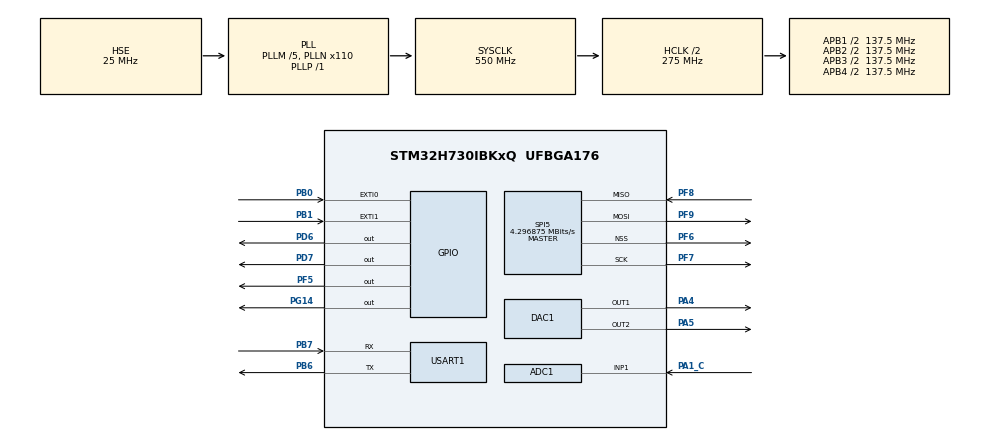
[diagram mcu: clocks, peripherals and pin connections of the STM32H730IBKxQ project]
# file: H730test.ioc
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ADC1.Channel-0\#ChannelRegularConversion=ADC_CHANNEL_1
ADC1.ConversionDataManagement=ADC_CONVERSIONDATA_DMA_ONESHOT
ADC1.ExternalTrigConv=ADC_EXTERNALTRIG_T3_TRGO
ADC1.NbrOfConversionFlag=1
ADC1.OffsetNumber-0\#ChannelRegularConversion=ADC_OFFSET_NONE
ADC1.OffsetSignedSaturation-0\#ChannelRegularConversion=DISABLE
ADC1.OversamplingMode=ENABLE
ADC1.Rank-0\#ChannelRegularConversion=1
ADC1.Ratio=16
ADC1.Resolution=ADC_RESOLUTION_12B
ADC1.RightBitShift=ADC_RIGHTBITSHIFT_4
ADC1.SamplingTime-0\#ChannelRegularConversion=ADC_SAMPLETIME_1CYCLE_5
ADC1.master=1
CORTEX_M7.AccessPermission_S-Cortex_Memory_Protection_Unit_Region1_Settings_S=MPU_REGION_FULL_ACCESS
CORTEX_M7.AccessPermission_Spec=MPU_REGION_FULL_ACCESS
CORTEX_M7.BaseAddress_S-Cortex_Memory_Protection_Unit_Region1_Settings_S=0x38000000
CORTEX_M7.CPU_DCache=Enabled
CORTEX_M7.CPU_ICache=Enabled
CORTEX_M7.Enable_S-Cortex_Memory_Protection_Unit_Region1_Settings_S=MPU_REGION_ENABLE
CORTEX_M7.IsBufferable_S-Cortex_Memory_Protection_Unit_Region1_Settings_S=MPU_ACCESS_NOT_BUFFERABLE
CORTEX_M7.IsCacheable_S-Cortex_Memory_Protection_Unit_Region1_Settings_S=MPU_ACCESS_CACHEABLE
CORTEX_M7.IsShareable_S-Cortex_Memory_Protection_Unit_Region1_Settings_S=MPU_ACCESS_SHAREABLE
CORTEX_M7.Size_S-Cortex_Memory_Protection_Unit_Region1_Settings_S=MPU_REGION_SIZE_64KB
CORTEX_M7.default_mode_Activation=1
DAC1.DAC_Channel-DAC_OUT1=DAC_CHANNEL_1
DAC1.DAC_Channel-DAC_OUT2=DAC_CHANNEL_2
DAC1.DAC_SampleAndHold-DAC_OUT2=DAC_SAMPLEANDHOLD_DISABLE
DAC1.DAC_Trigger-DAC_OUT1=DAC_TRIGGER_T2_TRGO
DAC1.DAC_Trigger-DAC_OUT2=DAC_TRIGGER_T4_TRGO
DAC1.WaveGeneration-DAC_OUT1=DISABLE
Dma.ADC1.0.Direction=DMA_PERIPH_TO_MEMORY
Dma.ADC1.0.EventEnable=DISABLE
Dma.ADC1.0.FIFOMode=DMA_FIFOMODE_DISABLE
Dma.ADC1.0.Instance=DMA1_Stream0
Dma.ADC1.0.MemDataAlignment=DMA_MDATAALIGN_HALFWORD
Dma.ADC1.0.MemInc=DMA_MINC_ENABLE
Dma.ADC1.0.Mode=DMA_NORMAL
Dma.ADC1.0.PeriphDataAlignment=DMA_PDATAALIGN_HALFWORD
Dma.ADC1.0.PeriphInc=DMA_PINC_DISABLE
Dma.ADC1.0.Polarity=HAL_DMAMUX_REQ_GEN_RISING
Dma.ADC1.0.Priority=DMA_PRIORITY_LOW
Dma.ADC1.0.RequestNumber=1
Dma.ADC1.0.SignalID=NONE
Dma.ADC1.0.SyncEnable=DISABLE
Dma.ADC1.0.SyncPolarity=HAL_DMAMUX_SYNC_NO_EVENT
Dma.ADC1.0.SyncRequestNumber=1
Dma.ADC1.0.SyncSignalID=NONE
Dma.DAC1_CH1.1.Direction=DMA_MEMORY_TO_PERIPH
Dma.DAC1_CH1.1.EventEnable=DISABLE
Dma.DAC1_CH1.1.FIFOMode=DMA_FIFOMODE_DISABLE
Dma.DAC1_CH1.1.Instance=DMA1_Stream1
Dma.DAC1_CH1.1.MemDataAlignment=DMA_MDATAALIGN_HALFWORD
Dma.DAC1_CH1.1.MemInc=DMA_MINC_ENABLE
Dma.DAC1_CH1.1.Mode=DMA_NORMAL
Dma.DAC1_CH1.1.PeriphDataAlignment=DMA_PDATAALIGN_HALFWORD
Dma.DAC1_CH1.1.PeriphInc=DMA_PINC_DISABLE
Dma.DAC1_CH1.1.Polarity=HAL_DMAMUX_REQ_GEN_RISING
Dma.DAC1_CH1.1.Priority=DMA_PRIORITY_LOW
Dma.DAC1_CH1.1.RequestNumber=1
Dma.DAC1_CH1.1.SignalID=NONE
Dma.DAC1_CH1.1.SyncEnable=DISABLE
Dma.DAC1_CH1.1.SyncPolarity=HAL_DMAMUX_SYNC_NO_EVENT
Dma.DAC1_CH1.1.SyncRequestNumber=1
Dma.DAC1_CH1.1.SyncSignalID=NONE
Dma.DAC1_CH2.2.Direction=DMA_MEMORY_TO_PERIPH
Dma.DAC1_CH2.2.EventEnable=DISABLE
Dma.DAC1_CH2.2.FIFOMode=DMA_FIFOMODE_DISABLE
Dma.DAC1_CH2.2.Instance=DMA1_Stream2
Dma.DAC1_CH2.2.MemDataAlignment=DMA_MDATAALIGN_HALFWORD
Dma.DAC1_CH2.2.MemInc=DMA_MINC_ENABLE
Dma.DAC1_CH2.2.Mode=DMA_NORMAL
Dma.DAC1_CH2.2.PeriphDataAlignment=DMA_PDATAALIGN_HALFWORD
Dma.DAC1_CH2.2.PeriphInc=DMA_PINC_DISABLE
Dma.DAC1_CH2.2.Polarity=HAL_DMAMUX_REQ_GEN_RISING
Dma.DAC1_CH2.2.Priority=DMA_PRIORITY_LOW
Dma.DAC1_CH2.2.RequestNumber=1
Dma.DAC1_CH2.2.SignalID=NONE
Dma.DAC1_CH2.2.SyncEnable=DISABLE
Dma.DAC1_CH2.2.SyncPolarity=HAL_DMAMUX_SYNC_NO_EVENT
Dma.DAC1_CH2.2.SyncRequestNumber=1
Dma.DAC1_CH2.2.SyncSignalID=NONE
Dma.Request0=ADC1
Dma.Request1=DAC1_CH1
Dma.Request2=DAC1_CH2
Dma.Request3=SPI5_TX
Dma.SPI5_TX.3.Direction=DMA_MEMORY_TO_PERIPH
Dma.SPI5_TX.3.EventEnable=DISABLE
Dma.SPI5_TX.3.FIFOMode=DMA_FIFOMODE_DISABLE
Dma.SPI5_TX.3.Instance=DMA1_Stream3
Dma.SPI5_TX.3.MemDataAlignment=DMA_MDATAALIGN_BYTE
Dma.SPI5_TX.3.MemInc=DMA_MINC_ENABLE
Dma.SPI5_TX.3.Mode=DMA_NORMAL
Dma.SPI5_TX.3.PeriphDataAlignment=DMA_PDATAALIGN_BYTE
Dma.SPI5_TX.3.PeriphInc=DMA_PINC_DISABLE
Dma.SPI5_TX.3.Polarity=HAL_DMAMUX_REQ_GEN_RISING
Dma.SPI5_TX.3.Priority=DMA_PRIORITY_LOW
Dma.SPI5_TX.3.RequestNumber=1
Dma.SPI5_TX.3.SignalID=NONE
Dma.SPI5_TX.3.SyncEnable=DISABLE
Dma.SPI5_TX.3.SyncPolarity=HAL_DMAMUX_SYNC_NO_EVENT
Dma.SPI5_TX.3.SyncRequestNumber=1
Dma.SPI5_TX.3.SyncSignalID=NONE
Mcu.Family=STM32H7
Mcu.Name=STM32H730IBKxQ
Mcu.Package=UFBGA176
NVIC.DMA1_Stream0_IRQn=true\:0\:0\:false\:false\:true\:false\:true\:true
NVIC.DMA1_Stream1_IRQn=true\:0\:0\:false\:false\:true\:false\:true\:true
NVIC.DMA1_Stream2_IRQn=true\:0\:0\:false\:false\:true\:false\:true\:true
NVIC.DMA1_Stream3_IRQn=true\:0\:0\:false\:false\:true\:false\:true\:true
NVIC.EXTI0_IRQn=true\:0\:0\:false\:false\:true\:true\:true\:true
NVIC.EXTI1_IRQn=true\:0\:0\:false\:false\:true\:true\:true\:true
NVIC.PriorityGroup=NVIC_PRIORITYGROUP_4
NVIC.SPI5_IRQn=true\:0\:0\:false\:false\:true\:false\:true\:true
PA13(JTMS/SWDIO).Mode=Serial_Wire
PA13(JTMS/SWDIO).Signal=DEBUG_JTMS-SWDIO
PA14(JTCK/SWCLK).Mode=Serial_Wire
PA14(JTCK/SWCLK).Signal=DEBUG_JTCK-SWCLK
PA1_C.Signal=ADCx_INP1
PA4.Signal=COMP_DAC11_group
PA5.Signal=COMP_DAC12_group
PB0.Signal=GPXTI0
PB1.Signal=GPXTI1
PB6.Mode=Asynchronous
PB6.Signal=USART1_TX
PB7.Mode=Asynchronous
PB7.Signal=USART1_RX
PD6.Signal=GPIO_Output
PD7.Signal=GPIO_Output
PF5.Signal=GPIO_Output
PF6.Mode=NSS_Signal_Hard_Output
PF6.Signal=SPI5_NSS
PF7.GPIO_Speed=GPIO_SPEED_FREQ_HIGH
PF7.Mode=Full_Duplex_Master
PF7.Signal=SPI5_SCK
PF8.GPIO_Speed=GPIO_SPEED_FREQ_HIGH
PF8.Mode=Full_Duplex_Master
PF8.Signal=SPI5_MISO
PF9.GPIO_Speed=GPIO_SPEED_FREQ_HIGH
PF9.Mode=Full_Duplex_Master
PF9.Signal=SPI5_MOSI
PG14.Signal=GPIO_Output
PH0-OSC_IN.Mode=HSE-External-Oscillator
PH0-OSC_IN.Signal=RCC_OSC_IN
PH1-OSC_OUT.Mode=HSE-External-Oscillator
PH1-OSC_OUT.Signal=RCC_OSC_OUT
ProjectManager.HeapSize=0x200
ProjectManager.StackSize=0x400
ProjectManager.TargetToolchain=MDK-ARM V5.27
RCC.ADCFreq_Value=125000000
RCC.APB1Freq_Value=137500000
RCC.APB2Freq_Value=137500000
RCC.APB3Freq_Value=137500000
RCC.APB4Freq_Value=137500000
RCC.CortexFreq_Value=550000000
RCC.D1PPRE=RCC_APB3_DIV2
RCC.D2PPRE1=RCC_APB1_DIV2
RCC.D2PPRE2=RCC_APB2_DIV2
RCC.D3PPRE=RCC_APB4_DIV2
RCC.DIVM1=5
RCC.DIVM2=5
RCC.DIVM3=5
RCC.DIVN1=110
RCC.DIVN2=100
RCC.DIVN3=110
RCC.DIVP1=1
RCC.DIVP2=4
RCC.EnbaleCSS=true
RCC.HCLKFreq_Value=275000000
RCC.HPRE=RCC_HCLK_DIV2
RCC.HSE_VALUE=25000000
RCC.PLL2FRACN=0
RCC.PLLFRACN=0
RCC.PLLSourceVirtual=RCC_PLLSOURCE_HSE
RCC.SYSCLKFreq_VALUE=550000000
RCC.SYSCLKSource=RCC_SYSCLKSOURCE_PLLCLK
RCC.USBFreq_Value=275000000
SH.ADCx_INP1.0=ADC1_INP1,IN1-Single-Ended
SH.COMP_DAC11_group.0=DAC1_OUT1,DAC_OUT1
SH.COMP_DAC12_group.0=DAC1_OUT2,DAC_OUT2
SPI5.BaudRatePrescaler=SPI_BAUDRATEPRESCALER_32
SPI5.CalculateBaudRate=4.296875 MBits/s
SPI5.DataSize=SPI_DATASIZE_8BIT
SPI5.Direction=SPI_DIRECTION_2LINES
SPI5.Mode=SPI_MODE_MASTER
SPI5.VirtualNSS=VM_NSSHARD
SPI5.VirtualType=VM_MASTER
TIM2.Period=199
TIM2.Prescaler=274
TIM2.TIM_MasterOutputTrigger=TIM_TRGO_UPDATE
TIM3.Period=499
TIM3.Prescaler=274
TIM3.TIM_MasterOutputTrigger=TIM_TRGO_UPDATE
TIM4.Period=999
TIM4.Prescaler=274
TIM4.TIM_MasterOutputTrigger=TIM_TRGO_UPDATE
USART1.VirtualMode-Asynchronous=VM_ASYNC
VP_MEMORYMAP_VS_MEMORYMAP.Mode=CurAppReg
VP_TIM2_VS_ClockSourceINT.Mode=Internal
VP_TIM3_VS_ClockSourceINT.Mode=Internal
VP_TIM4_VS_ClockSourceINT.Mode=Internal
board=custom

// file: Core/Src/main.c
/* USER CODE BEGIN Header */
/**
  ******************************************************************************
  * @file           : main.c
  * @brief          : Main program body
  ******************************************************************************
  * @attention
  *
  * Copyright (c) 2026 STMicroelectronics.
  * All rights reserved.
  *
  * This software is licensed under terms that can be found in the LICENSE file
  * in the root directory of this software component.
  * If no LICENSE file comes with this software, it is provided AS-IS.
  *
  ******************************************************************************
  */
/* USER CODE END Header */
#include "main.h"

/* USER CODE BEGIN Includes */
#include <stdint.h>
#include <stdio.h>
#include <string.h>
#include <stdbool.h>
/* USER CODE END Includes */

/* USER CODE BEGIN PM */
#define MAX_XSIZE 10000
#define MAX_YSIZE 10000
#define XPOINTS_PER_LINE 2500
#define YPOINTS_PER_LINE 1000

#define POINTS_V 5000
#define DAC_X_MSB 4096  // DAC输出的最大�?�，12-bit分辨率为4095，但为了方便计算和留有余量，使用4096
#define DAC_Y_MSB 4096  // 同上，DAC输出的最大�??

/* USER CODE END PM */

ADC_HandleTypeDef hadc1;
DMA_HandleTypeDef hdma_adc1;

DAC_HandleTypeDef hdac1;
DMA_HandleTypeDef hdma_dac1_ch1;
DMA_HandleTypeDef hdma_dac1_ch2;

SPI_HandleTypeDef hspi5;
DMA_HandleTypeDef hdma_spi5_tx;

TIM_HandleTypeDef htim2;
TIM_HandleTypeDef htim3;
TIM_HandleTypeDef htim4;

UART_HandleTypeDef huart1;

/* USER CODE BEGIN PV */

//ALIGN_32BYTES (uint16_t adc3_buffer[ADC_BUFFER_SIZE]) __attribute__((section(".ARM.__at_0x38000000")));
ALIGN_32BYTES (uint16_t adc_buffer[ADC_BUFFER_SIZE]) __attribute__((section(".ARM.__at_0x38000000")));
volatile uint8_t dma_transfer_complete_flag = 0;
volatile uint8_t dma_transfer_half_complete_flag = 0;

// AFM Scan parameters
static uint16_t scan_x_size = 10000; // integer in nm, 10 um
static uint16_t scan_y_size = 10000; // integer in nm, 10 um
static uint16_t scan_x_offset = 0; // integer in nm
static uint16_t scan_y_offset = 0; // integer in nm
static uint16_t scan_rate = 1; // in Hz
static uint16_t scan_samples = 250;
static uint16_t scan_lines = 250;
volatile bool scanning = false;
volatile static bool scan_direction_upward = false; // true: upward (from max to 0), false: downward (from 0 to max)
volatile uint16_t current_scan_line = 0;
volatile bool frame_completed = false;
volatile bool half_line_completed = false;
volatile bool line_completed = false;

volatile bool scan_x_tr = false; // true: x scanning in retrace direction, false: x scanning in trace direction

// scanning control varibles
static float scan_x_inc = 0.0f;
static float scan_y_inc = 0.0f;

uint16_t scan_y_index = 0; // 当前扫描行的索引
ALIGN_32BYTES (uint16_t x_dac_buffer_t[XPOINTS_PER_LINE]) __attribute__((section(".ARM.__at_0x38000000")));
ALIGN_32BYTES (uint16_t x_dac_buffer_r[XPOINTS_PER_LINE]) __attribute__((section(".ARM.__at_0x38000000")));
ALIGN_32BYTES (uint16_t y_dac_buffer[YPOINTS_PER_LINE]) __attribute__((section(".ARM.__at_0x38000000")));
//ALIGN_32BYTES (uint16_t y_dac_buffer_nl[YPOINTS_PER_LINE]) __attribute__((section(".ARM.__at_0x38000000")));  // nl: next line

#pragma pack(push, 1)
typedef struct {
    uint16_t    address;
    uint16_t    scan_x_size;
    uint16_t    scan_y_size;
    uint16_t    scan_x_offset;
    uint16_t    scan_y_offset;
    uint16_t    scan_rate;
    uint16_t    scan_samples;
    uint16_t    scan_lines;
    uint16_t     is_scanning; // 0 for stopped, 1 for scanning
    uint16_t     scan_direction; // 0 for downward, 1 for upward
} ScanParams_t;
#pragma pack(pop)

union{
    ScanParams_t params;
    uint8_t bytes[sizeof(ScanParams_t)];
} scan_params_union;

static bool spi_request = false;
uint16_t spi_tx_buffer[ 1000];

/* USER CODE END PV */

void SystemClock_Config(void);
static void MPU_Config(void);
static void MX_GPIO_Init(void);
static void MX_DMA_Init(void);
static void MX_SPI5_Init(void);
static void MX_TIM3_Init(void);
static void MX_USART1_UART_Init(void);
static void MX_ADC1_Init(void);
static void MX_DAC1_Init(void);
static void MX_TIM2_Init(void);
static void MX_TIM4_Init(void);
/* USER CODE BEGIN PFP */

static void Scan_Init(void);
static void Launch_Scan(void);
static void Stop_Scan(void);

/* USER CODE END PFP */

/* USER CODE BEGIN 0 */
/* USER CODE BEGIN 0 */
int fputc(int ch, FILE *stream)
{
    /* ??????? USART3 ???? */
    HAL_UART_Transmit(&huart1, (uint8_t *)&ch, 1, 100);
    return ch;
}

void tx_buf_init(void)
{
  uint16_t i;
  for(i = 0; i< 1000; i++)
    spi_tx_buffer[i] = i;

}

/* USER CODE END 0 */

int main(void)
{

  /* MPU Configuration--------------------------------------------------------*/
  MPU_Config();

  /* Enable the CPU Cache */

  /* Enable I-Cache---------------------------------------------------------*/
  SCB_EnableICache();

  /* Enable D-Cache---------------------------------------------------------*/
  SCB_EnableDCache();

  /* MCU Configuration--------------------------------------------------------*/

  /* Reset of all peripherals, Initializes the Flash interface and the Systick. */
  HAL_Init();

  /* Configure the system clock */
  SystemClock_Config();

  /* Initialize all configured peripherals */
  MX_GPIO_Init();
  MX_DMA_Init();
  MX_SPI5_Init();
  MX_TIM3_Init();
  MX_USART1_UART_Init();
  MX_ADC1_Init();
  MX_DAC1_Init();
  MX_TIM2_Init();
  MX_TIM4_Init();
  /* USER CODE BEGIN 2 */

  /* Start DAC channels */
  HAL_DAC_Start(&hdac1, DAC_CHANNEL_1);
  HAL_DAC_Start(&hdac1, DAC_CHANNEL_2);

  /* Set DAC output values: 1/3 and 2/3 of full scale (4095) */
  /* DAC resolution is 12-bit, so full scale = 4095 */
  // HAL_DAC_SetValue(&hdac1, DAC_CHANNEL_1, DAC_ALIGN_12B_R, 1365);  /* 4095 * 1/3 = 1365 */
  // HAL_DAC_SetValue(&hdac1, DAC_CHANNEL_2, DAC_ALIGN_12B_R, 2730);  /* 4095 * 2/3 = 2730 */

  /* Perform ADC calibration before starting */
  if (HAL_ADCEx_Calibration_Start(&hadc1, ADC_CALIB_OFFSET, ADC_SINGLE_ENDED) != HAL_OK)
  {
    Error_Handler();
  }

  /* Start TIM3 to trigger ADC1 conversions */
  if (HAL_TIM_Base_Start_IT(&htim3) != HAL_OK)
  {
    Error_Handler();
  }

    /* Start TIM2 to trigger DAC1 CH1 conversions */
  if (HAL_TIM_Base_Start_IT(&htim2) != HAL_OK)
  {
    Error_Handler();
  }

  /* Start TIM4 to trigger DAC1 CH2 conversions */
  if (HAL_TIM_Base_Start_IT(&htim4) != HAL_OK)
  {
    Error_Handler();
  }

  /* Initialize scanning parameters */
  Scan_Init();
  tx_buf_init();

  /* Debug: Send startup message */
  printf("STM32H730 AFM Scan Control Started\r\n");

  /* USER CODE END 2 */

  /* Infinite loop */
  while (1)
  {

    /* USER CODE BEGIN 3 */
    // if(dma_transfer_complete_flag==1)
    // {
    //   // 处理 buffer1 数据
    //   // ...

    //   uint32_t sum = 0;
    //   float voltage;

    //   // 计算1000个点总和
    //   for(int i=0; i<1000; i++) sum += adc_buffer[i + 1000];

    //   // 计算平均�????????? �????????? 转换成电压（12位ADC�?????????3.3V参�?�）
    //   uint16_t adc_avg = sum / 1000;
    //   //voltage = (adc_avg * 3.3f) / 4095.0f;
    //   voltage = ((adc_buffer[1000]) * 3.3f) / 4095.0f;

    //   // 通过 USART3 打印平均电压
    //   printf("retrace volt: %.3f V\r\n", voltage);

    //   printf("full transfer complete, processing buffer1...\n");
    //   dma_transfer_complete_flag = 0; // 重置标志
    //   HAL_GPIO_WritePin(GPIOF, GPIO_PIN_5, GPIO_PIN_SET); // 点亮 LED
    // }

    // if(dma_transfer_half_complete_flag==1)
    // {
    //   // 处理 buffer2 数据
    //   // ...
    //   uint32_t sum = 0;
    //   float voltage;

    //   // 计算1000个点总和
    //   for(int i=0; i<1000; i++) sum += adc_buffer[i];

    //   // 计算平均�????????? �????????? 转换成电压（12位ADC�?????????3.3V参�?�）
    //   uint16_t adc_avg = sum / 1000;
    //   //voltage = (adc_avg * 3.3f) / 4095.0f;
    //   voltage = ((adc_buffer[0]) * 3.3f) / 4095.0f;

    //   // 通过 USART3 打印平均电压
    //   printf("trace volt: %.3f V\r\n", voltage);
    //   printf("half transfer complete, processing buffer2...\n");
    //   dma_transfer_half_complete_flag = 0; // 重置标志
    //   HAL_GPIO_WritePin(GPIOF, GPIO_PIN_5, GPIO_PIN_RESET); // 熄灭 LED
    // }

    if(line_completed){
      // 处理半行扫描完成的情况，例如更新 DAC 输出以准备下�??行扫�??
      if(scan_direction_upward){
        // 如果当前扫描方向是向上（从最大到0），则更�?? DAC 输出为下�??行的�??
        if(current_scan_line > 0)  // 如果不是第一行，预先计算上一行的Y DAC�??
        {
          uint16_t i;
          for(i=0;i<YPOINTS_PER_LINE;i++)
          {
            y_dac_buffer[i] = (uint16_t)(scan_y_offset * DAC_Y_MSB / MAX_YSIZE + (YPOINTS_PER_LINE * (current_scan_line - 1) + i) * scan_y_inc);
          }
        }
        else
        {
          // 如果是第�??行，预先计算第二行的Y DAC值（�??复循环扫描）
          uint16_t i;
          for(i=0;i<YPOINTS_PER_LINE;i++)
          {
            y_dac_buffer[i] = (uint16_t)(scan_y_offset * DAC_Y_MSB / MAX_YSIZE + (YPOINTS_PER_LINE * (current_scan_line + 1) + i) * scan_y_inc);
          }
        }

      }
      else{
        // 如果当前扫描方向是向下（�??0到最大），则更新 DAC 输出为下�??行的�??
        if(current_scan_line < (scan_lines - 1))  // 如果不是�??后一行，预先计算下一行的Y DAC�??
        {
          uint16_t i;
          for(i=0;i<YPOINTS_PER_LINE;i++)
          {
            y_dac_buffer[i] = (uint16_t)(scan_y_offset * DAC_Y_MSB / MAX_YSIZE + (YPOINTS_PER_LINE * (current_scan_line + 1) + i) * scan_y_inc);
          }
        }
        else
        {
            // 如果是最后一行，预先计算倒数第二行的Y DAC值（�??复循环扫描）
            uint16_t i;
            for(i=0;i<YPOINTS_PER_LINE;i++)
            {
              y_dac_buffer[i] = (uint16_t)(scan_y_offset * DAC_Y_MSB / MAX_YSIZE + (YPOINTS_PER_LINE * (current_scan_line + 0) + i) * scan_y_inc);
            }
        }

      }
      line_completed = false;
      HAL_GPIO_WritePin(GPIOF, GPIO_PIN_5, GPIO_PIN_SET); // 点亮 LED
      HAL_GPIO_WritePin(GPIO_PORT_LINESYNC, GPIO_PIN_LINESYNC, GPIO_PIN_RESET); // falling edge indicates retrace data ready

      //printf("line %d completed\n", current_scan_line);

      // 更新扫描行索�??
      if(scan_direction_upward){
        // 如果当前扫描方向是向上（从最大到0），则索引�?�减
        if(current_scan_line > 0) current_scan_line--;
        else{
          // 已经扫描到最上面�??行，切换扫描方向
          scan_direction_upward = false;
        }

      }
      else{
        // 如果当前扫描方向是向下（�??0到最大），则索引递增
        if(current_scan_line < (scan_lines - 1)) current_scan_line++;
        else{
          // 已经扫描到最下面�??行，切换扫描方向
          scan_direction_upward = true;
        }
      }
    }

    if(half_line_completed)
    {
      // 处理半行扫描完成的情况，例如更新 DAC 输出以准备半行扫�??
      // ...
      half_line_completed = false; // 重置标志
      HAL_GPIO_WritePin(GPIOF, GPIO_PIN_5, GPIO_PIN_RESET); // 熄灭 LED
      HAL_GPIO_WritePin(GPIO_PORT_LINESYNC, GPIO_PIN_LINESYNC, GPIO_PIN_SET);   // raising edge indicates trace data ready
      //printf("half line %d completed\n", current_scan_line);
    }

    // if(line_completed){
    //   // 处理整行扫描完成
    //   printf("line %d completed\n", current_scan_line);
    //   line_completed = false;
    // }
    /* ADC conversions are handled by TIM3 trigger and DMA interrupt */
    /* No need for polling in main loop */

  }
  /* USER CODE END 3 */
}

void SystemClock_Config(void)
{
  RCC_OscInitTypeDef RCC_OscInitStruct = {0};
  RCC_ClkInitTypeDef RCC_ClkInitStruct = {0};

  /** Supply configuration update enable
  */
  HAL_PWREx_ConfigSupply(PWR_DIRECT_SMPS_SUPPLY);

  /** Configure the main internal regulator output voltage
  */
  __HAL_PWR_VOLTAGESCALING_CONFIG(PWR_REGULATOR_VOLTAGE_SCALE0);

  while(!__HAL_PWR_GET_FLAG(PWR_FLAG_VOSRDY)) {}

  /** Initializes the RCC Oscillators according to the specified parameters
  * in the RCC_OscInitTypeDef structure.
  */
  RCC_OscInitStruct.OscillatorType = RCC_OSCILLATORTYPE_HSE;
  RCC_OscInitStruct.HSEState = RCC_HSE_ON;
  RCC_OscInitStruct.PLL.PLLState = RCC_PLL_ON;
  RCC_OscInitStruct.PLL.PLLSource = RCC_PLLSOURCE_HSE;
  RCC_OscInitStruct.PLL.PLLM = 5;
  RCC_OscInitStruct.PLL.PLLN = 110;
  RCC_OscInitStruct.PLL.PLLP = 1;
  RCC_OscInitStruct.PLL.PLLQ = 2;
  RCC_OscInitStruct.PLL.PLLR = 2;
  RCC_OscInitStruct.PLL.PLLRGE = RCC_PLL1VCIRANGE_2;
  RCC_OscInitStruct.PLL.PLLVCOSEL = RCC_PLL1VCOWIDE;
  RCC_OscInitStruct.PLL.PLLFRACN = 0;
  if (HAL_RCC_OscConfig(&RCC_OscInitStruct) != HAL_OK)
  {
    Error_Handler();
  }

  /** Initializes the CPU, AHB and APB buses clocks
  */
  RCC_ClkInitStruct.ClockType = RCC_CLOCKTYPE_HCLK|RCC_CLOCKTYPE_SYSCLK
                              |RCC_CLOCKTYPE_PCLK1|RCC_CLOCKTYPE_PCLK2
                              |RCC_CLOCKTYPE_D3PCLK1|RCC_CLOCKTYPE_D1PCLK1;
  RCC_ClkInitStruct.SYSCLKSource = RCC_SYSCLKSOURCE_PLLCLK;
  RCC_ClkInitStruct.SYSCLKDivider = RCC_SYSCLK_DIV1;
  RCC_ClkInitStruct.AHBCLKDivider = RCC_HCLK_DIV2;
  RCC_ClkInitStruct.APB3CLKDivider = RCC_APB3_DIV2;
  RCC_ClkInitStruct.APB1CLKDivider = RCC_APB1_DIV2;
  RCC_ClkInitStruct.APB2CLKDivider = RCC_APB2_DIV2;
  RCC_ClkInitStruct.APB4CLKDivider = RCC_APB4_DIV2;

  if (HAL_RCC_ClockConfig(&RCC_ClkInitStruct, FLASH_LATENCY_3) != HAL_OK)
  {
    Error_Handler();
  }

  /** Enables the Clock Security System
  */
  HAL_RCC_EnableCSS();
}

static void MX_ADC1_Init(void)
{

  ADC_MultiModeTypeDef multimode = {0};
  ADC_ChannelConfTypeDef sConfig = {0};

  /** Common config
  */
  hadc1.Instance = ADC1;
  hadc1.Init.ClockPrescaler = ADC_CLOCK_ASYNC_DIV1;
  hadc1.Init.Resolution = ADC_RESOLUTION_12B;
  hadc1.Init.ScanConvMode = ADC_SCAN_DISABLE;
  hadc1.Init.EOCSelection = ADC_EOC_SINGLE_CONV;
  hadc1.Init.LowPowerAutoWait = DISABLE;
  hadc1.Init.ContinuousConvMode = DISABLE;
  hadc1.Init.NbrOfConversion = 1;
  hadc1.Init.DiscontinuousConvMode = DISABLE;
  hadc1.Init.ExternalTrigConv = ADC_EXTERNALTRIG_T3_TRGO;
  hadc1.Init.ExternalTrigConvEdge = ADC_EXTERNALTRIGCONVEDGE_RISING;
  hadc1.Init.ConversionDataManagement = ADC_CONVERSIONDATA_DMA_ONESHOT;
  hadc1.Init.Overrun = ADC_OVR_DATA_PRESERVED;
  hadc1.Init.LeftBitShift = ADC_LEFTBITSHIFT_NONE;
  hadc1.Init.OversamplingMode = ENABLE;
  hadc1.Init.Oversampling.Ratio = 16;
  hadc1.Init.Oversampling.RightBitShift = ADC_RIGHTBITSHIFT_4;
  hadc1.Init.Oversampling.TriggeredMode = ADC_TRIGGEREDMODE_SINGLE_TRIGGER;
  hadc1.Init.Oversampling.OversamplingStopReset = ADC_REGOVERSAMPLING_CONTINUED_MODE;
  if (HAL_ADC_Init(&hadc1) != HAL_OK)
  {
    Error_Handler();
  }

  /** Configure the ADC multi-mode
  */
  multimode.Mode = ADC_MODE_INDEPENDENT;
  if (HAL_ADCEx_MultiModeConfigChannel(&hadc1, &multimode) != HAL_OK)
  {
    Error_Handler();
  }

  /** Configure Regular Channel
  */
  sConfig.Channel = ADC_CHANNEL_1;
  sConfig.Rank = ADC_REGULAR_RANK_1;
  sConfig.SamplingTime = ADC_SAMPLETIME_1CYCLE_5;
  sConfig.SingleDiff = ADC_SINGLE_ENDED;
  sConfig.OffsetNumber = ADC_OFFSET_NONE;
  sConfig.Offset = 0;
  sConfig.OffsetSignedSaturation = DISABLE;
  if (HAL_ADC_ConfigChannel(&hadc1, &sConfig) != HAL_OK)
  {
    Error_Handler();
  }

}

static void MX_DAC1_Init(void)
{

  DAC_ChannelConfTypeDef sConfig = {0};

  /** DAC Initialization
  */
  hdac1.Instance = DAC1;
  if (HAL_DAC_Init(&hdac1) != HAL_OK)
  {
    Error_Handler();
  }

  /** DAC channel OUT1 config
  */
  sConfig.DAC_SampleAndHold = DAC_SAMPLEANDHOLD_DISABLE;
  sConfig.DAC_Trigger = DAC_TRIGGER_T2_TRGO;
  sConfig.DAC_OutputBuffer = DAC_OUTPUTBUFFER_ENABLE;
  sConfig.DAC_ConnectOnChipPeripheral = DAC_CHIPCONNECT_DISABLE;
  sConfig.DAC_UserTrimming = DAC_TRIMMING_FACTORY;
  if (HAL_DAC_ConfigChannel(&hdac1, &sConfig, DAC_CHANNEL_1) != HAL_OK)
  {
    Error_Handler();
  }

  /** DAC channel OUT2 config
  */
  sConfig.DAC_Trigger = DAC_TRIGGER_T4_TRGO;
  if (HAL_DAC_ConfigChannel(&hdac1, &sConfig, DAC_CHANNEL_2) != HAL_OK)
  {
    Error_Handler();
  }

}

static void MX_SPI5_Init(void)
{

  /* SPI5 parameter configuration*/
  hspi5.Instance = SPI5;
  hspi5.Init.Mode = SPI_MODE_MASTER;
  hspi5.Init.Direction = SPI_DIRECTION_2LINES;
  hspi5.Init.DataSize = SPI_DATASIZE_8BIT;
  hspi5.Init.CLKPolarity = SPI_POLARITY_LOW;
  hspi5.Init.CLKPhase = SPI_PHASE_1EDGE;
  hspi5.Init.NSS = SPI_NSS_HARD_OUTPUT;
  hspi5.Init.BaudRatePrescaler = SPI_BAUDRATEPRESCALER_32;
  hspi5.Init.FirstBit = SPI_FIRSTBIT_MSB;
  hspi5.Init.TIMode = SPI_TIMODE_DISABLE;
  hspi5.Init.CRCCalculation = SPI_CRCCALCULATION_DISABLE;
  hspi5.Init.CRCPolynomial = 0x0;
  hspi5.Init.NSSPMode = SPI_NSS_PULSE_ENABLE;
  hspi5.Init.NSSPolarity = SPI_NSS_POLARITY_LOW;
  hspi5.Init.FifoThreshold = SPI_FIFO_THRESHOLD_01DATA;
  hspi5.Init.TxCRCInitializationPattern = SPI_CRC_INITIALIZATION_ALL_ZERO_PATTERN;
  hspi5.Init.RxCRCInitializationPattern = SPI_CRC_INITIALIZATION_ALL_ZERO_PATTERN;
  hspi5.Init.MasterSSIdleness = SPI_MASTER_SS_IDLENESS_00CYCLE;
  hspi5.Init.MasterInterDataIdleness = SPI_MASTER_INTERDATA_IDLENESS_00CYCLE;
  hspi5.Init.MasterReceiverAutoSusp = SPI_MASTER_RX_AUTOSUSP_DISABLE;
  hspi5.Init.MasterKeepIOState = SPI_MASTER_KEEP_IO_STATE_DISABLE;
  hspi5.Init.IOSwap = SPI_IO_SWAP_DISABLE;
  if (HAL_SPI_Init(&hspi5) != HAL_OK)
  {
    Error_Handler();
  }

}

static void MX_TIM2_Init(void)
{

  TIM_ClockConfigTypeDef sClockSourceConfig = {0};
  TIM_MasterConfigTypeDef sMasterConfig = {0};

  htim2.Instance = TIM2;
  htim2.Init.Prescaler = 274;
  htim2.Init.CounterMode = TIM_COUNTERMODE_UP;
  htim2.Init.Period = 199;
  htim2.Init.ClockDivision = TIM_CLOCKDIVISION_DIV1;
  htim2.Init.AutoReloadPreload = TIM_AUTORELOAD_PRELOAD_DISABLE;
  if (HAL_TIM_Base_Init(&htim2) != HAL_OK)
  {
    Error_Handler();
  }
  sClockSourceConfig.ClockSource = TIM_CLOCKSOURCE_INTERNAL;
  if (HAL_TIM_ConfigClockSource(&htim2, &sClockSourceConfig) != HAL_OK)
  {
    Error_Handler();
  }
  sMasterConfig.MasterOutputTrigger = TIM_TRGO_UPDATE;
  sMasterConfig.MasterSlaveMode = TIM_MASTERSLAVEMODE_DISABLE;
  if (HAL_TIMEx_MasterConfigSynchronization(&htim2, &sMasterConfig) != HAL_OK)
  {
    Error_Handler();
  }

}

static void MX_TIM3_Init(void)
{

  TIM_ClockConfigTypeDef sClockSourceConfig = {0};
  TIM_MasterConfigTypeDef sMasterConfig = {0};

  htim3.Instance = TIM3;
  htim3.Init.Prescaler = 274;
  htim3.Init.CounterMode = TIM_COUNTERMODE_UP;
  htim3.Init.Period = 499;
  htim3.Init.ClockDivision = TIM_CLOCKDIVISION_DIV1;
  htim3.Init.AutoReloadPreload = TIM_AUTORELOAD_PRELOAD_DISABLE;
  if (HAL_TIM_Base_Init(&htim3) != HAL_OK)
  {
    Error_Handler();
  }
  sClockSourceConfig.ClockSource = TIM_CLOCKSOURCE_INTERNAL;
  if (HAL_TIM_ConfigClockSource(&htim3, &sClockSourceConfig) != HAL_OK)
  {
    Error_Handler();
  }
  sMasterConfig.MasterOutputTrigger = TIM_TRGO_UPDATE;
  sMasterConfig.MasterSlaveMode = TIM_MASTERSLAVEMODE_DISABLE;
  if (HAL_TIMEx_MasterConfigSynchronization(&htim3, &sMasterConfig) != HAL_OK)
  {
    Error_Handler();
  }

}

static void MX_TIM4_Init(void)
{

  TIM_ClockConfigTypeDef sClockSourceConfig = {0};
  TIM_MasterConfigTypeDef sMasterConfig = {0};

  htim4.Instance = TIM4;
  htim4.Init.Prescaler = 274;
  htim4.Init.CounterMode = TIM_COUNTERMODE_UP;
  htim4.Init.Period = 999;
  htim4.Init.ClockDivision = TIM_CLOCKDIVISION_DIV1;
  htim4.Init.AutoReloadPreload = TIM_AUTORELOAD_PRELOAD_DISABLE;
  if (HAL_TIM_Base_Init(&htim4) != HAL_OK)
  {
    Error_Handler();
  }
  sClockSourceConfig.ClockSource = TIM_CLOCKSOURCE_INTERNAL;
  if (HAL_TIM_ConfigClockSource(&htim4, &sClockSourceConfig) != HAL_OK)
  {
    Error_Handler();
  }
  sMasterConfig.MasterOutputTrigger = TIM_TRGO_UPDATE;
  sMasterConfig.MasterSlaveMode = TIM_MASTERSLAVEMODE_DISABLE;
  if (HAL_TIMEx_MasterConfigSynchronization(&htim4, &sMasterConfig) != HAL_OK)
  {
    Error_Handler();
  }

}

static void MX_USART1_UART_Init(void)
{

  huart1.Instance = USART1;
  huart1.Init.BaudRate = 115200;
  huart1.Init.WordLength = UART_WORDLENGTH_8B;
  huart1.Init.StopBits = UART_STOPBITS_1;
  huart1.Init.Parity = UART_PARITY_NONE;
  huart1.Init.Mode = UART_MODE_TX_RX;
  huart1.Init.HwFlowCtl = UART_HWCONTROL_NONE;
  huart1.Init.OverSampling = UART_OVERSAMPLING_16;
  huart1.Init.OneBitSampling = UART_ONE_BIT_SAMPLE_DISABLE;
  huart1.Init.ClockPrescaler = UART_PRESCALER_DIV1;
  huart1.AdvancedInit.AdvFeatureInit = UART_ADVFEATURE_NO_INIT;
  if (HAL_UART_Init(&huart1) != HAL_OK)
  {
    Error_Handler();
  }
  if (HAL_UARTEx_SetTxFifoThreshold(&huart1, UART_TXFIFO_THRESHOLD_1_8) != HAL_OK)
  {
    Error_Handler();
  }
  if (HAL_UARTEx_SetRxFifoThreshold(&huart1, UART_RXFIFO_THRESHOLD_1_8) != HAL_OK)
  {
    Error_Handler();
  }
  if (HAL_UARTEx_DisableFifoMode(&huart1) != HAL_OK)
  {
    Error_Handler();
  }

}

static void MX_DMA_Init(void)
{

  /* DMA controller clock enable */
  __HAL_RCC_DMA1_CLK_ENABLE();

  /* DMA interrupt init */
  /* DMA1_Stream0_IRQn interrupt configuration */
  HAL_NVIC_SetPriority(DMA1_Stream0_IRQn, 0, 0);
  HAL_NVIC_EnableIRQ(DMA1_Stream0_IRQn);
  /* DMA1_Stream1_IRQn interrupt configuration */
  HAL_NVIC_SetPriority(DMA1_Stream1_IRQn, 0, 0);
  HAL_NVIC_EnableIRQ(DMA1_Stream1_IRQn);
  /* DMA1_Stream2_IRQn interrupt configuration */
  HAL_NVIC_SetPriority(DMA1_Stream2_IRQn, 0, 0);
  HAL_NVIC_EnableIRQ(DMA1_Stream2_IRQn);
  /* DMA1_Stream3_IRQn interrupt configuration */
  HAL_NVIC_SetPriority(DMA1_Stream3_IRQn, 0, 0);
  HAL_NVIC_EnableIRQ(DMA1_Stream3_IRQn);

}

static void MX_GPIO_Init(void)
{
  GPIO_InitTypeDef GPIO_InitStruct = {0};

  /* GPIO Ports Clock Enable */
  __HAL_RCC_GPIOB_CLK_ENABLE();
  __HAL_RCC_GPIOA_CLK_ENABLE();
  __HAL_RCC_GPIOD_CLK_ENABLE();
  __HAL_RCC_GPIOG_CLK_ENABLE();
  __HAL_RCC_GPIOF_CLK_ENABLE();
  __HAL_RCC_GPIOH_CLK_ENABLE();

  /*Configure GPIO pin Output Level */
  HAL_GPIO_WritePin(GPIOD, GPIO_PIN_7|GPIO_PIN_6, GPIO_PIN_RESET);

  /*Configure GPIO pin Output Level */
  HAL_GPIO_WritePin(GPIOG, GPIO_PIN_14, GPIO_PIN_RESET);

  /*Configure GPIO pin Output Level */
  HAL_GPIO_WritePin(GPIOF, GPIO_PIN_5, GPIO_PIN_RESET);

  /*Configure GPIO pins : PD7 PD6 */
  GPIO_InitStruct.Pin = GPIO_PIN_7|GPIO_PIN_6;
  GPIO_InitStruct.Mode = GPIO_MODE_OUTPUT_PP;
  GPIO_InitStruct.Pull = GPIO_NOPULL;
  GPIO_InitStruct.Speed = GPIO_SPEED_FREQ_LOW;
  HAL_GPIO_Init(GPIOD, &GPIO_InitStruct);

  /*Configure GPIO pin : PG14 */
  GPIO_InitStruct.Pin = GPIO_PIN_14;
  GPIO_InitStruct.Mode = GPIO_MODE_OUTPUT_PP;
  GPIO_InitStruct.Pull = GPIO_NOPULL;
  GPIO_InitStruct.Speed = GPIO_SPEED_FREQ_LOW;
  HAL_GPIO_Init(GPIOG, &GPIO_InitStruct);

  /*Configure GPIO pin : PF5 */
  GPIO_InitStruct.Pin = GPIO_PIN_5;
  GPIO_InitStruct.Mode = GPIO_MODE_OUTPUT_PP;
  GPIO_InitStruct.Pull = GPIO_NOPULL;
  GPIO_InitStruct.Speed = GPIO_SPEED_FREQ_LOW;
  HAL_GPIO_Init(GPIOF, &GPIO_InitStruct);

  /*Configure GPIO pins : PB1 PB0 */
  GPIO_InitStruct.Pin = GPIO_PIN_1|GPIO_PIN_0;
  GPIO_InitStruct.Mode = GPIO_MODE_IT_RISING;
  GPIO_InitStruct.Pull = GPIO_NOPULL;
  HAL_GPIO_Init(GPIOB, &GPIO_InitStruct);

  /* EXTI interrupt init*/
  HAL_NVIC_SetPriority(EXTI0_IRQn, 0, 0);
  HAL_NVIC_EnableIRQ(EXTI0_IRQn);

  HAL_NVIC_SetPriority(EXTI1_IRQn, 0, 0);
  HAL_NVIC_EnableIRQ(EXTI1_IRQn);

}

/* USER CODE BEGIN 4 */

void HAL_ADC_ConvHalfCpltCallback(ADC_HandleTypeDef* hadc)
{
  // 半传输完成回调：切换到另�????????个缓冲区
  dma_transfer_half_complete_flag = 1; // 设置半传输完成标�????????

}

void HAL_ADC_ConvCpltCallback(ADC_HandleTypeDef* hadc)
{

  dma_transfer_complete_flag = 1; // 设置传输完成标志

}

/* line scanning dac buffer filling*/
void HAL_DAC_ConvCpltCallbackCh1(DAC_HandleTypeDef *hdac)
{
  // DAC1通道1转换完成回调
  // 可以在这里更新DAC输出值以实现连续扫描
  // 例如，更新x_dac_buffer中的下一个�??
  // 注意：确保更新�?�度与扫描�?�率匹配，避免过快或过慢

  if(scan_x_tr == false){
    half_line_completed = true;

    // 如果当前是扫描方向（trace），则下�??次更新为回扫方向（retrace）的DAC�??
    scan_x_tr = true;
    HAL_DAC_Start_DMA(&hdac1, DAC_CHANNEL_1, (uint32_t*)x_dac_buffer_r, XPOINTS_PER_LINE, DAC_ALIGN_12B_R);
  }
  else{
    line_completed = true;

    // retrace finished, prepare for next trace
    scan_x_tr = false;
    HAL_DAC_Start_DMA(&hdac1, DAC_CHANNEL_1, (uint32_t*)x_dac_buffer_t , XPOINTS_PER_LINE, DAC_ALIGN_12B_R);
    // start trace sampling for the next line
    HAL_ADC_Start_DMA(&hadc1, (uint32_t*)adc_buffer, 2000);

  }

}

void HAL_DACEx_ConvCpltCallbackCh2(DAC_HandleTypeDef *hdac)
{
    HAL_DAC_Start_DMA(&hdac1, DAC_CHANNEL_2, (uint32_t*)y_dac_buffer , YPOINTS_PER_LINE, DAC_ALIGN_12B_R);

}

void HAL_GPIO_EXTI_Callback(uint16_t GPIO_Pin)
{
  char rxbuf[2000];

  if(GPIO_Pin == GPIO_PIN_1){
    // 处理GPIO_PIN_1的中断事�?
    // ...

    if(HAL_GPIO_ReadPin(GPIO_PORT_LINESYNC, GPIO_PIN_LINESYNC) ==  GPIO_PIN_SET){
      SCB_CleanDCache_by_Addr((uint32_t*)adc_buffer, 2000);
      HAL_SPI_Transmit_DMA(&hspi5, (uint8_t*)adc_buffer, 2000);
      // SCB_CleanDCache_by_Addr((uint32_t*)(spi_tx_buffer), 2000);
      // HAL_SPI_Transmit_DMA(&hspi5, (uint8_t*)(spi_tx_buffer), 2000);

    }
    else{
      SCB_CleanDCache_by_Addr((uint32_t*)(adc_buffer+1000), 2000);
      HAL_SPI_Transmit_DMA(&hspi5, (uint8_t*)(adc_buffer+1000), 2000);
      // SCB_CleanDCache_by_Addr((uint32_t*)(spi_tx_buffer), 2000);
      // HAL_SPI_Transmit_DMA(&hspi5, (uint8_t*)(spi_tx_buffer), 2000);
    }

    printf("IOD1: line %d completed, %d bytes transfered\n", current_scan_line, 2000);

  }
  else if(GPIO_Pin == GPIO_PIN_0){
    // GPIO_PIN_0 : spi slave request
    //spi_request = true;
    //printf("spi trans pending\n");

    HAL_SPI_TransmitReceive(&hspi5, (uint8_t*)spi_tx_buffer, (uint8_t*)scan_params_union.bytes, sizeof(ScanParams_t), HAL_MAX_DELAY);

    switch(scan_params_union.params.address)
    {
      case 0x0001: // 扫描参数更新
        scan_x_size = scan_params_union.params.scan_x_size;
        scan_y_size = scan_params_union.params.scan_y_size;
        scan_x_offset = scan_params_union.params.scan_x_offset;
        scan_y_offset = scan_params_union.params.scan_y_offset;
        scan_rate = scan_params_union.params.scan_rate;
        scan_samples = scan_params_union.params.scan_samples;
        scan_lines = scan_params_union.params.scan_lines;
        printf("scan params updated\n");

        break;
      case 0x0002: // 扫描启停控制
        scanning = (scan_params_union.params.is_scanning == 1);

        if(scanning == true)
        {
          printf("Scanning started\n");
          Scan_Init(); // 初始化扫描参数
          Launch_Scan(); // 启动扫描

        }
        else{
          printf("Scanning stopped\n");
          Stop_Scan(); // 停止扫描
        }
      break;

      case 0x0003: // 方向控制
        scan_direction_upward = (scan_params_union.params.scan_direction == 1);

        if(scan_direction_upward){
          printf("scan direction upward\n");
        }
        else{

          printf("scan direction downward\n");
        }
      break;

        // 可以添加更多地址对应不同的操作，例如控制扫描开始/停止、查询状态等

      case 0x0004:

        printf("line %d completed\n", current_scan_line);
      break;
      default:
        // 未知地址，可以选择忽略或返回错误

        break;
    }

    //printf("GPIO_PIN_0 interrupt triggered\n");
  }
}

void Scan_Init(void){
  uint16_t i;

  current_scan_line = 0;

  line_completed = false;
  half_line_completed = false;
  scan_x_tr = false;

  scan_x_inc = (float)scan_x_size * DAC_X_MSB / MAX_XSIZE / XPOINTS_PER_LINE; // X增量
  scan_y_inc = (float)scan_y_size * DAC_Y_MSB / MAX_YSIZE / (YPOINTS_PER_LINE * scan_lines); // Y增量

  for(i=0; i<XPOINTS_PER_LINE; i++){
    x_dac_buffer_t[i] = (uint16_t)(scan_x_offset * DAC_X_MSB / MAX_XSIZE + i * scan_x_inc);
    x_dac_buffer_r[i] = (uint16_t)(scan_x_offset * DAC_X_MSB / MAX_XSIZE + (XPOINTS_PER_LINE - 1 - i) * scan_x_inc);
  }

  // fill buffer of first line of Y scanning, the rest will be updated in the DAC callback
  for(i=0; i<YPOINTS_PER_LINE; i++){
    y_dac_buffer[i] = (uint16_t)(scan_y_offset * DAC_Y_MSB / MAX_YSIZE + i * scan_y_inc);
    // if(current_scan_line < scan_lines - 1)  // 如果不是�??后一行，预先计算下一行的Y DAC�??
    //   y_dac_buffer_nl[i] = (uint16_t)(scan_y_offset * DAC_Y_MSB / MAX_YSIZE + (YPOINTS_PER_LINE * (current_scan_line + 1) + i) * scan_y_inc);
  }

}

void Launch_Scan(void){
  // 启动扫描的函数，可以在这里执行任何必要的初始化或状态设置
  // 例如，重置扫描行索引，设置扫描标志等
  HAL_DAC_Start_DMA(&hdac1, DAC_CHANNEL_1, (uint32_t*)x_dac_buffer_t , XPOINTS_PER_LINE, DAC_ALIGN_12B_R);
  /* Start line sampling right after DAC is started */
  HAL_ADC_Start_DMA(&hadc1, (uint32_t*)adc_buffer, ADC_BUFFER_SIZE);
  HAL_DAC_Start_DMA(&hdac1, DAC_CHANNEL_2, (uint32_t*)y_dac_buffer ,  YPOINTS_PER_LINE, DAC_ALIGN_12B_R);
  // 可以在这里添加其他需要在扫描开始时执行的操作
}

void Stop_Scan(void){
  // 停止扫描的函数，可以在这里执行任何必要的清理或状态重置
  // 例如，停止DMA传输，重置扫描标志等
  HAL_DAC_Stop_DMA(&hdac1, DAC_CHANNEL_1);
  HAL_ADC_Stop_DMA(&hadc1);
  HAL_DAC_Stop_DMA(&hdac1, DAC_CHANNEL_2);
  // 可以在这里添加其他需要在扫描停止时执行的操作
}
/* USER CODE END 4 */

 /* MPU Configuration */

void MPU_Config(void)
{
  MPU_Region_InitTypeDef MPU_InitStruct = {0};

  /* Disables the MPU */
  HAL_MPU_Disable();

  /** Initializes and configures the Region and the memory to be protected
  */
  MPU_InitStruct.Enable = MPU_REGION_ENABLE;
  MPU_InitStruct.Number = MPU_REGION_NUMBER0;
  MPU_InitStruct.BaseAddress = 0x0;
  MPU_InitStruct.Size = MPU_REGION_SIZE_4GB;
  MPU_InitStruct.SubRegionDisable = 0x87;
  MPU_InitStruct.TypeExtField = MPU_TEX_LEVEL0;
  MPU_InitStruct.AccessPermission = MPU_REGION_FULL_ACCESS;
  MPU_InitStruct.DisableExec = MPU_INSTRUCTION_ACCESS_DISABLE;
  MPU_InitStruct.IsShareable = MPU_ACCESS_SHAREABLE;
  MPU_InitStruct.IsCacheable = MPU_ACCESS_NOT_CACHEABLE;
  MPU_InitStruct.IsBufferable = MPU_ACCESS_NOT_BUFFERABLE;

  HAL_MPU_ConfigRegion(&MPU_InitStruct);

  /** Initializes and configures the Region and the memory to be protected
  */
  MPU_InitStruct.Number = MPU_REGION_NUMBER1;
  MPU_InitStruct.BaseAddress = 0x38000000;
  MPU_InitStruct.Size = MPU_REGION_SIZE_64KB;
  MPU_InitStruct.SubRegionDisable = 0x0;
  MPU_InitStruct.DisableExec = MPU_INSTRUCTION_ACCESS_ENABLE;
  MPU_InitStruct.IsCacheable = MPU_ACCESS_CACHEABLE;

  HAL_MPU_ConfigRegion(&MPU_InitStruct);
  /* Enables the MPU */
  HAL_MPU_Enable(MPU_PRIVILEGED_DEFAULT);

}

void Error_Handler(void)
{
  __disable_irq();
  while (1)
  {
  }
}
